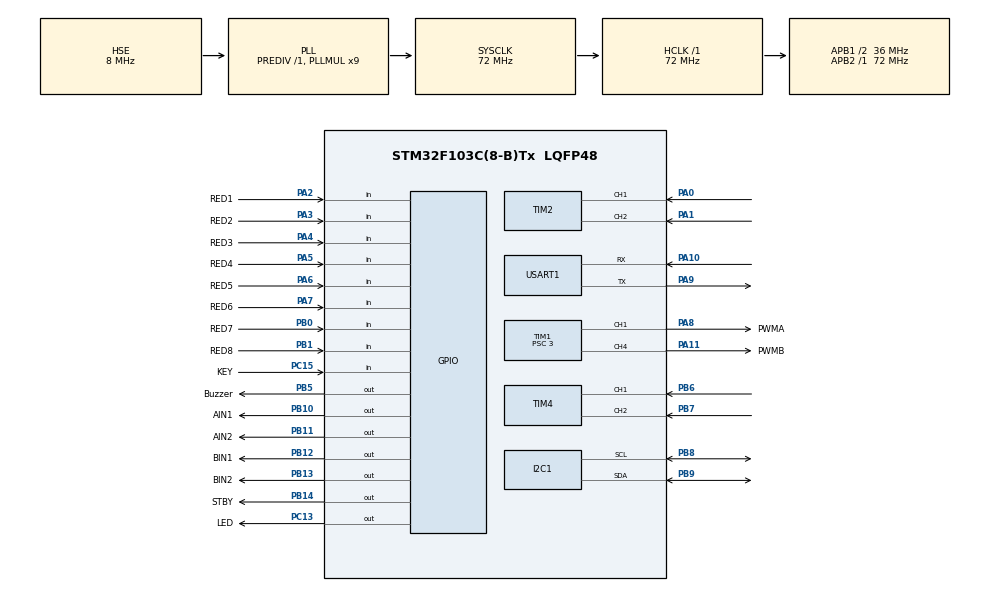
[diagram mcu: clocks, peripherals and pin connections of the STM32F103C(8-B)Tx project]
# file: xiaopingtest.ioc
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Mcu.Family=STM32F1
Mcu.Name=STM32F103C(8-B)Tx
Mcu.Package=LQFP48
NVIC.PriorityGroup=NVIC_PRIORITYGROUP_4
NVIC.TIM3_IRQn=true\:0\:0\:false\:false\:true\:true\:true\:true
PA0-WKUP.Signal=S_TIM2_CH1_ETR
PA1.Signal=S_TIM2_CH2
PA10.Mode=Asynchronous
PA10.Signal=USART1_RX
PA11.GPIO_Label=PWMB
PA11.Signal=S_TIM1_CH4
PA13.Mode=Serial_Wire
PA13.Signal=SYS_JTMS-SWDIO
PA14.Mode=Serial_Wire
PA14.Signal=SYS_JTCK-SWCLK
PA2.GPIO_Label=RED1
PA2.Signal=GPIO_Input
PA3.GPIO_Label=RED2
PA3.Signal=GPIO_Input
PA4.GPIO_Label=RED3
PA4.Signal=GPIO_Input
PA5.GPIO_Label=RED4
PA5.Signal=GPIO_Input
PA6.GPIO_Label=RED5
PA6.Signal=GPIO_Input
PA7.GPIO_Label=RED6
PA7.Signal=GPIO_Input
PA8.GPIO_Label=PWMA
PA8.Signal=S_TIM1_CH1
PA9.Mode=Asynchronous
PA9.Signal=USART1_TX
PB0.GPIO_Label=RED7
PB0.Signal=GPIO_Input
PB1.GPIO_Label=RED8
PB1.Signal=GPIO_Input
PB10.GPIO_Label=AIN1
PB10.Signal=GPIO_Output
PB11.GPIO_Label=AIN2
PB11.Signal=GPIO_Output
PB12.GPIO_Label=BIN1
PB12.Signal=GPIO_Output
PB13.GPIO_Label=BIN2
PB13.Signal=GPIO_Output
PB14.GPIO_Label=STBY
PB14.Signal=GPIO_Output
PB5.GPIO_Label=Buzzer
PB5.Signal=GPIO_Output
PB6.Signal=S_TIM4_CH1
PB7.Signal=S_TIM4_CH2
PB8.Mode=I2C
PB8.Signal=I2C1_SCL
PB9.Mode=I2C
PB9.Signal=I2C1_SDA
PC13-TAMPER-RTC.GPIO_Label=LED
PC13-TAMPER-RTC.Signal=GPIO_Output
PC15-OSC32_OUT.GPIO_Label=KEY
PC15-OSC32_OUT.Signal=GPIO_Input
PD0-OSC_IN.Mode=HSE-External-Oscillator
PD0-OSC_IN.Signal=RCC_OSC_IN
PD1-OSC_OUT.Mode=HSE-External-Oscillator
PD1-OSC_OUT.Signal=RCC_OSC_OUT
ProjectManager.HeapSize=0x200
ProjectManager.StackSize=0x400
ProjectManager.TargetToolchain=MDK-ARM V5.32
RCC.AHBFreq_Value=72000000
RCC.APB1CLKDivider=RCC_HCLK_DIV2
RCC.APB1Freq_Value=36000000
RCC.APB1TimFreq_Value=72000000
RCC.APB2Freq_Value=72000000
RCC.APB2TimFreq_Value=72000000
RCC.HCLKFreq_Value=72000000
RCC.PLLMUL=RCC_PLL_MUL9
RCC.PLLSourceVirtual=RCC_PLLSOURCE_HSE
RCC.SYSCLKFreq_VALUE=72000000
RCC.SYSCLKSource=RCC_SYSCLKSOURCE_PLLCLK
RCC.USBFreq_Value=72000000
SH.S_TIM1_CH1.0=TIM1_CH1,PWM Generation1 CH1
SH.S_TIM1_CH4.0=TIM1_CH4,PWM Generation4 CH4
SH.S_TIM2_CH1_ETR.0=TIM2_CH1,Encoder_Interface
SH.S_TIM2_CH2.0=TIM2_CH2,Encoder_Interface
SH.S_TIM4_CH1.0=TIM4_CH1,Encoder_Interface
SH.S_TIM4_CH2.0=TIM4_CH2,Encoder_Interface
TIM1.AutoReloadPreload=TIM_AUTORELOAD_PRELOAD_ENABLE
TIM1.Channel-PWM\ Generation1\ CH1=TIM_CHANNEL_1
TIM1.Channel-PWM\ Generation4\ CH4=TIM_CHANNEL_4
TIM1.Period=999
TIM1.Prescaler=3
TIM3.AutoReloadPreload=TIM_AUTORELOAD_PRELOAD_ENABLE
TIM3.Period=99
TIM3.Prescaler=7199
USART1.VirtualMode=VM_ASYNC
VP_TIM1_VS_ClockSourceINT.Mode=Internal
VP_TIM3_VS_ClockSourceINT.Mode=Internal
board=custom

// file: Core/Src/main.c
/* USER CODE BEGIN Header */
/**
  ******************************************************************************
  * @file           : main.c
  * @brief          : Main program body
  ******************************************************************************
  * @attention
  *
  * Copyright (c) 2026 STMicroelectronics.
  * All rights reserved.
  *
  * This software is licensed under terms that can be found in the LICENSE file
  * in the root directory of this software component.
  * If no LICENSE file comes with this software, it is provided AS-IS.
  *
  ******************************************************************************
  */
/* USER CODE END Header */
#include "main.h"

/* USER CODE BEGIN Includes */
#include "stdio.h"
#include "team.h"           /* 队友 B 的电机/编码器/PID/串口接口 */
#include "math.h"
/* 队友 A 的硬件驱动 + 状态机（已从标准库改成 HAL，见 car_driver 目录） */
#include "sensor.h"         /* 7 路灰度循迹传感器 */
#include "key.h"            /* 启动按键 */
#include "led.h"            /* LED + 蜂鸣器 */
#include "task.h"           /* 状态机（原来塞在 main.c 里，现在独立成 task.c） */
#include "mpu6050.h"        /* 陀螺仪（队友 C 的 MPU6050，走硬件 I2C1：PB8/PB9） */
extern volatile int16_t g_spd_l, g_spd_r;   /* 文件顶部 */
/* USER CODE END Includes */

I2C_HandleTypeDef hi2c1;

TIM_HandleTypeDef htim1;
TIM_HandleTypeDef htim2;
TIM_HandleTypeDef htim3;
TIM_HandleTypeDef htim4;

UART_HandleTypeDef huart1;

void SystemClock_Config(void);
static void MX_GPIO_Init(void);
static void MX_USART1_UART_Init(void);
static void MX_TIM1_Init(void);
static void MX_TIM2_Init(void);
static void MX_TIM3_Init(void);
static void MX_I2C1_Init(void);
static void MX_TIM4_Init(void);

/* USER CODE BEGIN PFP */
/* ============================================================
 *  运行状态打印：每 100ms 输出一行小车状态
 *
 *  格式：L=左轮计数  R=右轮计数  yaw=角度(0.1°)  err=灰度误差(0.01)
 *  例：  L=9 R=9 yaw=-1234 err=250
 *        → 左右轮各 9 计数/10ms，当前 -123.4°，灰度误差 2.50
 *
 *  放在 main 的 while(1) 里，自检打印之后调用即可。
 * ============================================================ */
void Car_State_Print(void)
{
    static uint32_t t0 = 0;

    if (HAL_GetTick() - t0 < 100U) return;   /* 10Hz，不刷屏 */
    t0 = HAL_GetTick();

    UART_SendStr("L=");
    UART_SendInt(g_spd_l);

    UART_SendStr(" R=");
    UART_SendInt(g_spd_r);

    UART_SendStr(" yaw=");
    UART_SendInt((int16_t)(GetYaw() * 10.0f));     /* ×10，0.1° 精度 */

    UART_SendStr(" err=");
    UART_SendInt((int16_t)(Sensor_GetError() * 100.0f));  /* ×100，0.01 精度 */

    UART_SendStr("\r\n");
}

void mpu_recalibrate(uint16_t number)
{
	HAL_TIM_Base_Stop_IT(&htim3);
	stop();

	//重新标定
	MPU6050_Calibrate(number);
	MPU6050_ResetYaw();

	HAL_TIM_Base_Start_IT(&htim3);
}
//异常终止
void fault_stop(void)
{
	stop();
	LED_ON();
	Buzzer_ON();
	HAL_Delay(800);
	Buzzer_OFF();
	while (1) { HAL_Delay(100); }      // 停在这里，等人复位
}

//万一放偏丢线,原地自转一圈找线
uint8_t find_line(uint8_t direction)       //direction: 0是逆时针，1是顺时针，直接传入参数就可以改变找线方向
{
	float    prev = GetYaw();
	float    acc  = 0.0f;
	float    d;
	uint8_t  ok   = 0;
	uint32_t t0   = HAL_GetTick();

	int16_t left_speed  = (direction == 0) ? -12 : 12;
	int16_t right_speed = (direction == 0) ?  12 : -12;

	while (acc < 360.0f)
	{
		/* ① 绝对超时：正常一圈约 4s，给一倍余量 */
		if (HAL_GetTick() - t0 > 8000U)
		{
			stop();
			return 0;
		}

		SpeedLoop_Update(left_speed, right_speed);

		/* ② 连续 3 拍确认，屏蔽单拍噪声 */
		if (Sensor_GetState() != SENSOR_STATE_LOST)
		{
			if (++ok >= 3)
			{
				stop();
				return 1;
			}
		}
		else
		{
			ok = 0;
		}

		HAL_Delay(10);

		/* ③ 累计转角（±180 折返修正） */
		d = GetYaw() - prev;
		if (d >  180.0f) d -= 360.0f;
		if (d < -180.0f) d += 360.0f;
		acc  += fabsf(d);
		prev  = GetYaw();
	}

	stop();
	return 0;
}

void drive_stright_stop(float target_yaw,uint8_t problem,uint8_t direction)
{
	uint16_t ok = 0;
	uint32_t start_time = HAL_GetTick();    //记录开始盲走的时间

	while (1)
	{
		uint32_t run_time=HAL_GetTick()-start_time;   //单位是毫秒
		if (problem == 1 || problem == 2)
		{
			walking_blindly(19, 19, target_yaw);      /* 电机：保持 10ms 一拍，不能动 */
		}
		else
		{

			if (run_time >= 7800)                             // 8.7 秒减速
			{
				walking_blindly(14, 14, target_yaw);
			}
			else
			{
				walking_blindly(19, 19, target_yaw);      /* 电机：保持 10ms 一拍，不能动 */
			}
		}

		if(run_time>=11000)
		{
			stop();
			if(find_line(direction)==1)
			{
				return;
			}
			stop();

			while (1)
			{
				LED_ON();
				Beep(80);
				HAL_Delay(80);
				Beep(80);
				HAL_Delay(80);
				Beep(80);                // 三声急响 表示 出错
				LED_OFF();
				//死机，等待人工复位
			}
		}

		if (Sensor_GetState() != SENSOR_STATE_LOST) ok++;
		else                                        ok = 0;

		if (ok >= 3)     { stop(); break; }       /* 连续 ≈30ms 看见线 → 真线 */

		HAL_Delay(10);
	}
}

void turn_start_confirm(float target_yaw)//和直走的方向塞入同一个角度即可
{
	int ok = 0;
	while (ok < 10)
	{
		walking_blindly(19, 19, target_yaw);    // 继续直走
		if (Sensor_GetState() == SENSOR_STATE_NORMAL) ok++;
		else ok = 0;
		HAL_Delay(10);
	}
}
void turn_finished_confirm(void)
{
	int lost = 0;
	while (lost < 16)
	{
		turn_Update(&Turn);
		if (Sensor_GetState() == SENSOR_STATE_LOST)
		{
			lost++;
		}
		else lost = 0;
		HAL_Delay(10);
	}
}

void turn_finished_Calibrate()
{
	// 直走一段确保车走出来转弯后可以对齐直线
	for (int i = 0 ;i<135;i++)
	{
		// 先不用盲走直接用速度更新试一下，不行再换
		SpeedLoop_Update(14 ,14);
		HAL_Delay(10);
	}
	PID_Reset_all();
}

void continue_rota(float target_yaw)
{
	uint16_t t = 0;//时间计数

	while(1)
	{
		float e = target_yaw - GetYaw();
		//角度归一
		if (e > 180.0f)  e -= 360.0f;
		if (e < -180.0f) e += 360.0f;

		if(fabsf(e) < 1.0f) break;
		if(t++ >= 800) break;

		Rota_Update(target_yaw, GetYaw());
		HAL_Delay(10);
	}

	stop(); //停下顺便清掉速度环积分
}

void voice_light(void)
{
	LED_ON();
	Beep(300);
	LED_OFF();
}

/*--------------------------------------------------------*/
 //direction: 0是逆时针，1是顺时针，直接传入参数就可以改变找线方向
void problem1(void)
{
	// 直走直到遇到黑线
	drive_stright_stop(0.0f,1,0);
	// 停车
	stop();
}

void problem2(void)
{
    // 盲走到看见线
	drive_stright_stop(0.0f,2,0);
	voice_light();

	// 线出现后再确认 3 拍，防止不会因为轨迹卡在两个传感器之间直接切到下一个步骤
	turn_start_confirm(0.0f);
	// 循迹过弯：连续 8 拍丢线才算真出弯
	turn_finished_confirm();
	// 直行一点再转对准直线
	turn_finished_Calibrate();
	voice_light();
	// 自转矫正角度
	continue_rota(180.0f);

	// 盲走到看见线
	drive_stright_stop(180.0f,2,0);
	voice_light();

	// 线出现后再确认 8 拍，防止不会因为轨迹卡在两个传感器之间直接切到下一个步骤
	turn_start_confirm(180.0f);
	// 循迹过弯：连续 8 拍丢线才算真出弯
	turn_finished_confirm();
	// 停车
	stop();
}

void problem3(void)
{
	// 自转矫正角度
	continue_rota(-38.66f);

    // 盲走到看见线
	drive_stright_stop(-38.66f,3,1);//-38.66f测试的时候记得改
	voice_light();

	// 循迹过弯：连续 8 拍丢线才算真出弯
	turn_finished_confirm();
	voice_light();
	// 直行一点再转
	turn_finished_Calibrate();
	// 自转矫正角度
	continue_rota(-143.25f);//143.0f

	// 盲走到看见线
	drive_stright_stop(-143.25f,3,0);
	voice_light();

	// 循迹过弯：连续 8 拍丢线才算真出弯
	turn_finished_confirm();
	stop();
}
// 停车stop();34后面做完记得加因为要循环调用所以不能写在里面声光提示voice_light();
void problem4()
{
	problem3();
	for (int i = 0;i<3;i++)
	{
		turn_finished_Calibrate();
		problem3();
	}
}

//---------------------附加题-----------------------------//
void route_l(void)
{
	//初始自转调角度
	continue_rota(0.0f);
	// 盲走到看见线
	drive_stright_stop(0.0f,2,0);

	// 线出现后再确认 10 拍，防止不会因为轨迹卡在两个传感器之间直接切到下一个步骤
	turn_start_confirm(0.0f);
	// 循迹过弯：连续 8 拍丢线才算真出弯
	turn_finished_confirm();
	// 直行一点再转对准直线
	turn_finished_Calibrate();

	// 自转矫正角度
	continue_rota(180.0f);

	// 盲走到看见线
	drive_stright_stop(180.0f,2,0);

	// 线出现后再确认 8 拍，防止不会因为轨迹卡在两个传感器之间直接切到下一个步骤
	turn_start_confirm(180.0f);
	// 循迹过弯：连续 8 拍丢线才算真出弯
	turn_finished_confirm();

	// 直行一点再转对准直线以便于转弯
	turn_finished_Calibrate();
}

void route_x(void)
{
	// 自转矫正角度
	continue_rota(-38.66f);

    // 盲走到看见线
	drive_stright_stop(-38.66f,3,1);//-38.66f测试的时候记得改

	// 循迹过弯：连续 8 拍丢线才算真出弯
	turn_finished_confirm();
	// 直行一点再转
	turn_finished_Calibrate();
	// 自转矫正角度
	continue_rota(-143.25f);//143.0f

	// 盲走到看见线
	drive_stright_stop(-143.25f,3,0);

	// 循迹过弯：连续 8 拍丢线才算真出弯
	turn_finished_confirm();

	// 直行一点再转对准直线以便于转弯
	turn_finished_Calibrate();
}

char get_data[3];

//解析接收到的数据
uint8_t data_analysis(const char*s, uint8_t n)
{
	uint8_t i;
	char c;

	// 长度不对直接报错
	if (n != 3) return 0;

	// 存储数据
	for (i = 0 ; i<3 ;i++)
	{
		c = s[i];
		if (c >= 'a' && c <= 'z') c = (char)(c - 32);   // 兼容小写
		if (c != 'L' && c != 'X') return 0;
		get_data[i] = c;
	}
	return 1;
}

//串口输入指令
uint8_t bonus_input(void)
{
	char    buf[4];          /* 3 个字符 + 结束符，留 1 字节余量 */
	uint8_t n  = 0;
	uint8_t ch;

	UART_SendStr("\r\nINPUT ROUTE (L/X x3, e.g. LXL): \r\n");
	LED_ON();
	(void)huart1.Instance->SR;
	(void)huart1.Instance->DR;
	while(1)
	{
		/* ---------- 只在“真的收到字节”时才处理，其余一律跳过 ---------- */
		if (HAL_UART_Receive(&huart1, &ch, 1, 0) != HAL_OK)
		{
			continue;              /* 没收到：什么都不做，绝不碰 ch */
		}

		/* 1) 回车 / 换行：结束本次输入，交给校验函数 */
		if (ch == '\r' || ch == '\n')
		{
			if (n == 0)  { UART_SendStr("RETRY: \r\n"); continue; };               /* 空回车，忽略 */

			if (data_analysis(buf, n))
			{
				UART_SendStr("OK\r\n");
				LED_OFF();
				Beep(300);
				return 1;
			}

			/* 非法指令：拒绝并重新等待 */
			UART_SendStr("ERROR\r\n");
			Beep(80); HAL_Delay(80);
			Beep(80); HAL_Delay(80);
			Beep(80);
			n = 0;
			UART_SendStr("RETRY: \r\n");
			continue;
		}

		/* 2) 退格：允许改错（0x08 = Ctrl+H，0x7F = Del） */
		if (ch == 0x08 || ch == 0x7F)
		{
			if (n > 0) n--;
			continue;
		}

		/* 3) 普通字符：最多收 3 个 */
		if (n < 3)
		{
			buf[n++] = (char)ch;
			HAL_UART_Transmit(&huart1, &ch, 1, 10);
		}
		else
		{
			/* 第 4 个字符出现 → 这条指令一定不合法，直接判错 */
			UART_SendStr("TOO LONG\r\n");
			Beep(80); HAL_Delay(80);
			Beep(80); HAL_Delay(80);
			Beep(80);
			n = 0;
			UART_SendStr("RETRY: \r\n");
		}
	}
}

void problem5(void)
{
	uint8_t i;

	for(i = 0;i<3;i++)
	{
		if (get_data[i] == 'L') route_l();
		else                 	route_x();

	}
}

void problem6(void)
{
      // 盲走到看见线
	drive_stright_stop(0.0f,2,0);
	voice_light();

	// 线出现后再确认 30 拍，防止不会因为轨迹卡在两个传感器之间直接切到下一个步骤
	turn_start_confirm(0.0f);
	continue_rota(-140.25f);//143.0f   //直接雷霆大掉头

	// 盲走到看见线
	drive_stright_stop(-140.85f,3,0);
	voice_light();

	// 循迹过弯：连续 8 拍丢线才算真出弯
	turn_finished_confirm();
	stop();
	voice_light();
}

//当按下按键后才开始行走，防止来不及拆掉串口模块
void wait_key_start(void)
{
	uint8_t  on = 0;
	uint32_t t  = HAL_GetTick();

	stop();                       // 确保车是停着的

	while(1)
	{
		if (Key_Scan(20) != 0)    // 非阻塞：这一拍检测到一次按下
		{
			LED_OFF();
			Beep(120);            // 短响：确认按键收到
			return;
		}

		// LED 慢闪，表示输入完成，等待按键按下
		if (HAL_GetTick() - t >= 400U)
		{
			t  = HAL_GetTick();
			on = !on;
			if (on) LED_ON();
			else    LED_OFF();
		}

		HAL_Delay(10);            // 固定 10ms 周期，Key_Scan 的去抖才准
	}
}

//定时中断
void HAL_TIM_PeriodElapsedCallback(TIM_HandleTypeDef *htim)
{
	if (htim->Instance == TIM3)
	{
		//Rota_Update(-50.2f, GetYaw());
		//Rota_Update(143.0f, GetYaw());
		//walking_blindly(12, 12, 0.0f);
		//SpeedLoop_Update(10 ,10);
		//SpeedLoop_Update(40,40);
		//current_sensor_state = Sensor_GetState();
		//turn_Update(&Turn);//测完记得注释

		if (MPU6050_IsOnline()) MPU6050_Proc(); // 如果在线就一直更新

	}
}

//自检串口发送+初始化
void selfcheck(void)
{
	/* 先把 PWM/编码器启动好（占空比 0，不会转） */
	HAL_TIM_PWM_Start(&htim1, TIM_CHANNEL_1);   /* 右轮 PA8 */
	HAL_TIM_PWM_Start(&htim1, TIM_CHANNEL_4);   /* 左轮 PA11 */
	HAL_TIM_Encoder_Start(&htim4, TIM_CHANNEL_ALL);  /* 左编码器 */
	HAL_TIM_Encoder_Start(&htim2, TIM_CHANNEL_ALL);  /* 右编码器 */

	Sensor_Init();
	Key_Init();
	LED_Init();
	Buzzer_Init();
	Task_Init();
	UART_SendStr("\r\n===== BOOT =====\r\n");

	Sensor_Init();          UART_SendStr("Sensor ok\r\n");
	Key_Init();             UART_SendStr("Key ok\r\n");
	LED_Init();             UART_SendStr("LED ok\r\n");
	Buzzer_Init();          UART_SendStr("Buzzer ok\r\n");
	Task_Init();            UART_SendStr("Task ok\r\n");

	// ===== MPU6050：上电等它稳，再重试探测 =====
	// 冷启动（电池直接上电）时 GY-521 自己的稳压器要 ~100ms 才稳，
	// 一上电就 Ping 会失败；在线调试时板子早通电了，所以偶尔能读到。
	HAL_Delay(200);
	{
		uint8_t i;
		for (i = 0U; i < 10U; i++)
		{
			MPU6050_Init();
			if (MPU6050_IsOnline()) break;
			UART_SendStr("MPU retry...\r\n");
			HAL_Delay(50);
		}
	}

	UART_SendStr(MPU6050_IsOnline() ? "MPU ok\r\n" : "MPU NOT FOUND (check PB8/PB9)\r\n");

	// 只有在线才标定，否则 500 次读失败会白等好几秒
	if (MPU6050_IsOnline())
	{
		MPU6050_Calibrate(500);   /* 2s，车必须完全不动 */
		MPU6050_ResetYaw();
	}

	/* ===== 最后才使能驱动 + 开 10ms 中断 ===== */
	HAL_GPIO_WritePin(GPIOB, GPIO_PIN_14, GPIO_PIN_SET);   // STBY = 高
	HAL_TIM_Base_Start_IT(&htim3);

}

void Sensor_Show(void)
{
    uint8_t raw = Sensor_ReadRaw();      /* bit6=最左 … bit0=最右 */
    char    buf[10];
    int     i;

    for (i = 0; i < 7; i++)
        buf[i] = ((raw >> (6 - i)) & 1u) ? '#' : '.';   /* # 判黑  . 判白 */

    buf[7] = '\r'; buf[8] = '\n'; buf[9] = '\0';
    UART_SendStr(" S=");
    HAL_UART_Transmit(&huart1, (uint8_t *)buf, 9, 100);
}

//状态机
void problem_loop(void)
{
	 // 等待按键按下
	uint8_t step = 0;

	// 上电先静止
	stop();
	LED_ON();

	while (1)
	{
		// 待机，等待按钮按下
		if (Key_Scan(20) != 0)
		{
			// 等待手松开
			while (Key_IsDown()) HAL_Delay(10);
			//按键消抖，确保真的松开
			HAL_Delay(50);
			// 切换下一题
			step++;

			LED_OFF();
			stop();

			switch (step)
			{
				case 1: problem1(); break;
				case 2: mpu_recalibrate(250) ; problem2(); break;
				case 3: mpu_recalibrate(250) ; problem3(); break;
				case 4: mpu_recalibrate(500) ; problem4(); break;
				case 5: //按两下
						while(Key_Scan(20) != 1)
						{
							HAL_Delay(10);
						}
						bonus_input();
						wait_key_start();
						mpu_recalibrate(500) ;
						problem5();
						break;
				case 6: mpu_recalibrate(500) ; problem6(); break;

				default: break;
			}
			//统一完成声光提示一次
			stop();
			voice_light();
		}
		HAL_Delay(10);
	}

}
/* USER CODE END PFP */

int main(void)
{

  /* MCU Configuration--------------------------------------------------------*/

  /* Reset of all peripherals, Initializes the Flash interface and the Systick. */
  HAL_Init();

  /* Configure the system clock */
  SystemClock_Config();

  /* Initialize all configured peripherals */
  MX_GPIO_Init();
  MX_USART1_UART_Init();
  MX_TIM1_Init();
  MX_TIM2_Init();
  MX_TIM3_Init();
  MX_I2C1_Init();
  MX_TIM4_Init();
  /* USER CODE BEGIN 2 */
	//自检+初始化
	selfcheck();

	//测试代码
	//problem1();
	//problem2();
	//problem3();
	//problem4();
	/*
	while(Key_Scan(20) != 1)
	{
		HAL_Delay(10);
	}
	bonus_input();
	wait_key_start();
	mpu_recalibrate(500) ;
	problem5();
	stop();
	voice_light();

	wait_key_start();
	mpu_recalibrate(500) ;
	problem6();
	stop();
	voice_light();
	*/
	//problem6();
	problem_loop();

  /* USER CODE END 2 */

  /* Infinite loop */
  /* USER CODE BEGIN WHILE */

	while(1)
	{
		Car_State_Print();
		//Sensor_Show();
	}

    /* USER CODE END WHILE */

}

void SystemClock_Config(void)
{
  RCC_OscInitTypeDef RCC_OscInitStruct = {0};
  RCC_ClkInitTypeDef RCC_ClkInitStruct = {0};

  /** Initializes the RCC Oscillators according to the specified parameters
  * in the RCC_OscInitTypeDef structure.
  */
  RCC_OscInitStruct.OscillatorType = RCC_OSCILLATORTYPE_HSE;
  RCC_OscInitStruct.HSEState = RCC_HSE_ON;
  RCC_OscInitStruct.HSEPredivValue = RCC_HSE_PREDIV_DIV1;
  RCC_OscInitStruct.HSIState = RCC_HSI_ON;
  RCC_OscInitStruct.PLL.PLLState = RCC_PLL_ON;
  RCC_OscInitStruct.PLL.PLLSource = RCC_PLLSOURCE_HSE;
  RCC_OscInitStruct.PLL.PLLMUL = RCC_PLL_MUL9;
  if (HAL_RCC_OscConfig(&RCC_OscInitStruct) != HAL_OK)
  {
    Error_Handler();
  }

  /** Initializes the CPU, AHB and APB buses clocks
  */
  RCC_ClkInitStruct.ClockType = RCC_CLOCKTYPE_HCLK|RCC_CLOCKTYPE_SYSCLK
                              |RCC_CLOCKTYPE_PCLK1|RCC_CLOCKTYPE_PCLK2;
  RCC_ClkInitStruct.SYSCLKSource = RCC_SYSCLKSOURCE_PLLCLK;
  RCC_ClkInitStruct.AHBCLKDivider = RCC_SYSCLK_DIV1;
  RCC_ClkInitStruct.APB1CLKDivider = RCC_HCLK_DIV2;
  RCC_ClkInitStruct.APB2CLKDivider = RCC_HCLK_DIV1;

  if (HAL_RCC_ClockConfig(&RCC_ClkInitStruct, FLASH_LATENCY_2) != HAL_OK)
  {
    Error_Handler();
  }
}

static void MX_I2C1_Init(void)
{

  hi2c1.Instance = I2C1;
  hi2c1.Init.ClockSpeed = 100000;
  hi2c1.Init.DutyCycle = I2C_DUTYCYCLE_2;
  hi2c1.Init.OwnAddress1 = 0;
  hi2c1.Init.AddressingMode = I2C_ADDRESSINGMODE_7BIT;
  hi2c1.Init.DualAddressMode = I2C_DUALADDRESS_DISABLE;
  hi2c1.Init.OwnAddress2 = 0;
  hi2c1.Init.GeneralCallMode = I2C_GENERALCALL_DISABLE;
  hi2c1.Init.NoStretchMode = I2C_NOSTRETCH_DISABLE;
  if (HAL_I2C_Init(&hi2c1) != HAL_OK)
  {
    Error_Handler();
  }

}

static void MX_TIM1_Init(void)
{

  TIM_ClockConfigTypeDef sClockSourceConfig = {0};
  TIM_MasterConfigTypeDef sMasterConfig = {0};
  TIM_OC_InitTypeDef sConfigOC = {0};
  TIM_BreakDeadTimeConfigTypeDef sBreakDeadTimeConfig = {0};

  htim1.Instance = TIM1;
  htim1.Init.Prescaler = 3;
  htim1.Init.CounterMode = TIM_COUNTERMODE_UP;
  htim1.Init.Period = 999;
  htim1.Init.ClockDivision = TIM_CLOCKDIVISION_DIV1;
  htim1.Init.RepetitionCounter = 0;
  htim1.Init.AutoReloadPreload = TIM_AUTORELOAD_PRELOAD_ENABLE;
  if (HAL_TIM_Base_Init(&htim1) != HAL_OK)
  {
    Error_Handler();
  }
  sClockSourceConfig.ClockSource = TIM_CLOCKSOURCE_INTERNAL;
  if (HAL_TIM_ConfigClockSource(&htim1, &sClockSourceConfig) != HAL_OK)
  {
    Error_Handler();
  }
  if (HAL_TIM_PWM_Init(&htim1) != HAL_OK)
  {
    Error_Handler();
  }
  sMasterConfig.MasterOutputTrigger = TIM_TRGO_RESET;
  sMasterConfig.MasterSlaveMode = TIM_MASTERSLAVEMODE_DISABLE;
  if (HAL_TIMEx_MasterConfigSynchronization(&htim1, &sMasterConfig) != HAL_OK)
  {
    Error_Handler();
  }
  sConfigOC.OCMode = TIM_OCMODE_PWM1;
  sConfigOC.Pulse = 0;
  sConfigOC.OCPolarity = TIM_OCPOLARITY_HIGH;
  sConfigOC.OCNPolarity = TIM_OCNPOLARITY_HIGH;
  sConfigOC.OCFastMode = TIM_OCFAST_DISABLE;
  sConfigOC.OCIdleState = TIM_OCIDLESTATE_RESET;
  sConfigOC.OCNIdleState = TIM_OCNIDLESTATE_RESET;
  if (HAL_TIM_PWM_ConfigChannel(&htim1, &sConfigOC, TIM_CHANNEL_1) != HAL_OK)
  {
    Error_Handler();
  }
  if (HAL_TIM_PWM_ConfigChannel(&htim1, &sConfigOC, TIM_CHANNEL_4) != HAL_OK)
  {
    Error_Handler();
  }
  sBreakDeadTimeConfig.OffStateRunMode = TIM_OSSR_DISABLE;
  sBreakDeadTimeConfig.OffStateIDLEMode = TIM_OSSI_DISABLE;
  sBreakDeadTimeConfig.LockLevel = TIM_LOCKLEVEL_OFF;
  sBreakDeadTimeConfig.DeadTime = 0;
  sBreakDeadTimeConfig.BreakState = TIM_BREAK_DISABLE;
  sBreakDeadTimeConfig.BreakPolarity = TIM_BREAKPOLARITY_HIGH;
  sBreakDeadTimeConfig.AutomaticOutput = TIM_AUTOMATICOUTPUT_DISABLE;
  if (HAL_TIMEx_ConfigBreakDeadTime(&htim1, &sBreakDeadTimeConfig) != HAL_OK)
  {
    Error_Handler();
  }
  HAL_TIM_MspPostInit(&htim1);

}

static void MX_TIM2_Init(void)
{

  TIM_Encoder_InitTypeDef sConfig = {0};
  TIM_MasterConfigTypeDef sMasterConfig = {0};

  htim2.Instance = TIM2;
  htim2.Init.Prescaler = 0;
  htim2.Init.CounterMode = TIM_COUNTERMODE_UP;
  htim2.Init.Period = 65535;
  htim2.Init.ClockDivision = TIM_CLOCKDIVISION_DIV1;
  htim2.Init.AutoReloadPreload = TIM_AUTORELOAD_PRELOAD_DISABLE;
  sConfig.EncoderMode = TIM_ENCODERMODE_TI1;
  sConfig.IC1Polarity = TIM_ICPOLARITY_RISING;
  sConfig.IC1Selection = TIM_ICSELECTION_DIRECTTI;
  sConfig.IC1Prescaler = TIM_ICPSC_DIV1;
  sConfig.IC1Filter = 0;
  sConfig.IC2Polarity = TIM_ICPOLARITY_RISING;
  sConfig.IC2Selection = TIM_ICSELECTION_DIRECTTI;
  sConfig.IC2Prescaler = TIM_ICPSC_DIV1;
  sConfig.IC2Filter = 0;
  if (HAL_TIM_Encoder_Init(&htim2, &sConfig) != HAL_OK)
  {
    Error_Handler();
  }
  sMasterConfig.MasterOutputTrigger = TIM_TRGO_RESET;
  sMasterConfig.MasterSlaveMode = TIM_MASTERSLAVEMODE_DISABLE;
  if (HAL_TIMEx_MasterConfigSynchronization(&htim2, &sMasterConfig) != HAL_OK)
  {
    Error_Handler();
  }

}

static void MX_TIM3_Init(void)
{

  TIM_ClockConfigTypeDef sClockSourceConfig = {0};
  TIM_MasterConfigTypeDef sMasterConfig = {0};

  htim3.Instance = TIM3;
  htim3.Init.Prescaler = 7199;
  htim3.Init.CounterMode = TIM_COUNTERMODE_UP;
  htim3.Init.Period = 99;
  htim3.Init.ClockDivision = TIM_CLOCKDIVISION_DIV1;
  htim3.Init.AutoReloadPreload = TIM_AUTORELOAD_PRELOAD_ENABLE;
  if (HAL_TIM_Base_Init(&htim3) != HAL_OK)
  {
    Error_Handler();
  }
  sClockSourceConfig.ClockSource = TIM_CLOCKSOURCE_INTERNAL;
  if (HAL_TIM_ConfigClockSource(&htim3, &sClockSourceConfig) != HAL_OK)
  {
    Error_Handler();
  }
  sMasterConfig.MasterOutputTrigger = TIM_TRGO_RESET;
  sMasterConfig.MasterSlaveMode = TIM_MASTERSLAVEMODE_DISABLE;
  if (HAL_TIMEx_MasterConfigSynchronization(&htim3, &sMasterConfig) != HAL_OK)
  {
    Error_Handler();
  }

}

static void MX_TIM4_Init(void)
{

  TIM_Encoder_InitTypeDef sConfig = {0};
  TIM_MasterConfigTypeDef sMasterConfig = {0};

  htim4.Instance = TIM4;
  htim4.Init.Prescaler = 0;
  htim4.Init.CounterMode = TIM_COUNTERMODE_UP;
  htim4.Init.Period = 65535;
  htim4.Init.ClockDivision = TIM_CLOCKDIVISION_DIV1;
  htim4.Init.AutoReloadPreload = TIM_AUTORELOAD_PRELOAD_DISABLE;
  sConfig.EncoderMode = TIM_ENCODERMODE_TI1;
  sConfig.IC1Polarity = TIM_ICPOLARITY_RISING;
  sConfig.IC1Selection = TIM_ICSELECTION_DIRECTTI;
  sConfig.IC1Prescaler = TIM_ICPSC_DIV1;
  sConfig.IC1Filter = 0;
  sConfig.IC2Polarity = TIM_ICPOLARITY_RISING;
  sConfig.IC2Selection = TIM_ICSELECTION_DIRECTTI;
  sConfig.IC2Prescaler = TIM_ICPSC_DIV1;
  sConfig.IC2Filter = 0;
  if (HAL_TIM_Encoder_Init(&htim4, &sConfig) != HAL_OK)
  {
    Error_Handler();
  }
  sMasterConfig.MasterOutputTrigger = TIM_TRGO_RESET;
  sMasterConfig.MasterSlaveMode = TIM_MASTERSLAVEMODE_DISABLE;
  if (HAL_TIMEx_MasterConfigSynchronization(&htim4, &sMasterConfig) != HAL_OK)
  {
    Error_Handler();
  }

}

static void MX_USART1_UART_Init(void)
{

  huart1.Instance = USART1;
  huart1.Init.BaudRate = 115200;
  huart1.Init.WordLength = UART_WORDLENGTH_8B;
  huart1.Init.StopBits = UART_STOPBITS_1;
  huart1.Init.Parity = UART_PARITY_NONE;
  huart1.Init.Mode = UART_MODE_TX_RX;
  huart1.Init.HwFlowCtl = UART_HWCONTROL_NONE;
  huart1.Init.OverSampling = UART_OVERSAMPLING_16;
  if (HAL_UART_Init(&huart1) != HAL_OK)
  {
    Error_Handler();
  }

}

static void MX_GPIO_Init(void)
{
  GPIO_InitTypeDef GPIO_InitStruct = {0};

  /* GPIO Ports Clock Enable */
  __HAL_RCC_GPIOC_CLK_ENABLE();
  __HAL_RCC_GPIOD_CLK_ENABLE();
  __HAL_RCC_GPIOA_CLK_ENABLE();
  __HAL_RCC_GPIOB_CLK_ENABLE();

  /*Configure GPIO pin Output Level */
  HAL_GPIO_WritePin(LED_GPIO_Port, LED_Pin, GPIO_PIN_RESET);

  /*Configure GPIO pin Output Level */
  HAL_GPIO_WritePin(GPIOB, AIN1_Pin|AIN2_Pin|BIN1_Pin|BIN2_Pin
                          |STBY_Pin|Buzzer_Pin, GPIO_PIN_RESET);

  /*Configure GPIO pin : LED_Pin */
  GPIO_InitStruct.Pin = LED_Pin;
  GPIO_InitStruct.Mode = GPIO_MODE_OUTPUT_PP;
  GPIO_InitStruct.Pull = GPIO_NOPULL;
  GPIO_InitStruct.Speed = GPIO_SPEED_FREQ_LOW;
  HAL_GPIO_Init(LED_GPIO_Port, &GPIO_InitStruct);

  /*Configure GPIO pin : KEY_Pin */
  GPIO_InitStruct.Pin = KEY_Pin;
  GPIO_InitStruct.Mode = GPIO_MODE_INPUT;
  GPIO_InitStruct.Pull = GPIO_NOPULL;
  HAL_GPIO_Init(KEY_GPIO_Port, &GPIO_InitStruct);

  /*Configure GPIO pins : RED1_Pin RED2_Pin RED3_Pin RED4_Pin
                           RED5_Pin RED6_Pin */
  GPIO_InitStruct.Pin = RED1_Pin|RED2_Pin|RED3_Pin|RED4_Pin
                          |RED5_Pin|RED6_Pin;
  GPIO_InitStruct.Mode = GPIO_MODE_INPUT;
  GPIO_InitStruct.Pull = GPIO_NOPULL;
  HAL_GPIO_Init(GPIOA, &GPIO_InitStruct);

  /*Configure GPIO pins : RED7_Pin RED8_Pin */
  GPIO_InitStruct.Pin = RED7_Pin|RED8_Pin;
  GPIO_InitStruct.Mode = GPIO_MODE_INPUT;
  GPIO_InitStruct.Pull = GPIO_NOPULL;
  HAL_GPIO_Init(GPIOB, &GPIO_InitStruct);

  /*Configure GPIO pins : AIN1_Pin AIN2_Pin BIN1_Pin BIN2_Pin
                           STBY_Pin Buzzer_Pin */
  GPIO_InitStruct.Pin = AIN1_Pin|AIN2_Pin|BIN1_Pin|BIN2_Pin
                          |STBY_Pin|Buzzer_Pin;
  GPIO_InitStruct.Mode = GPIO_MODE_OUTPUT_PP;
  GPIO_InitStruct.Pull = GPIO_NOPULL;
  GPIO_InitStruct.Speed = GPIO_SPEED_FREQ_LOW;
  HAL_GPIO_Init(GPIOB, &GPIO_InitStruct);

}

void Error_Handler(void)
{
  __disable_irq();
  while (1)
  {
  }
}
